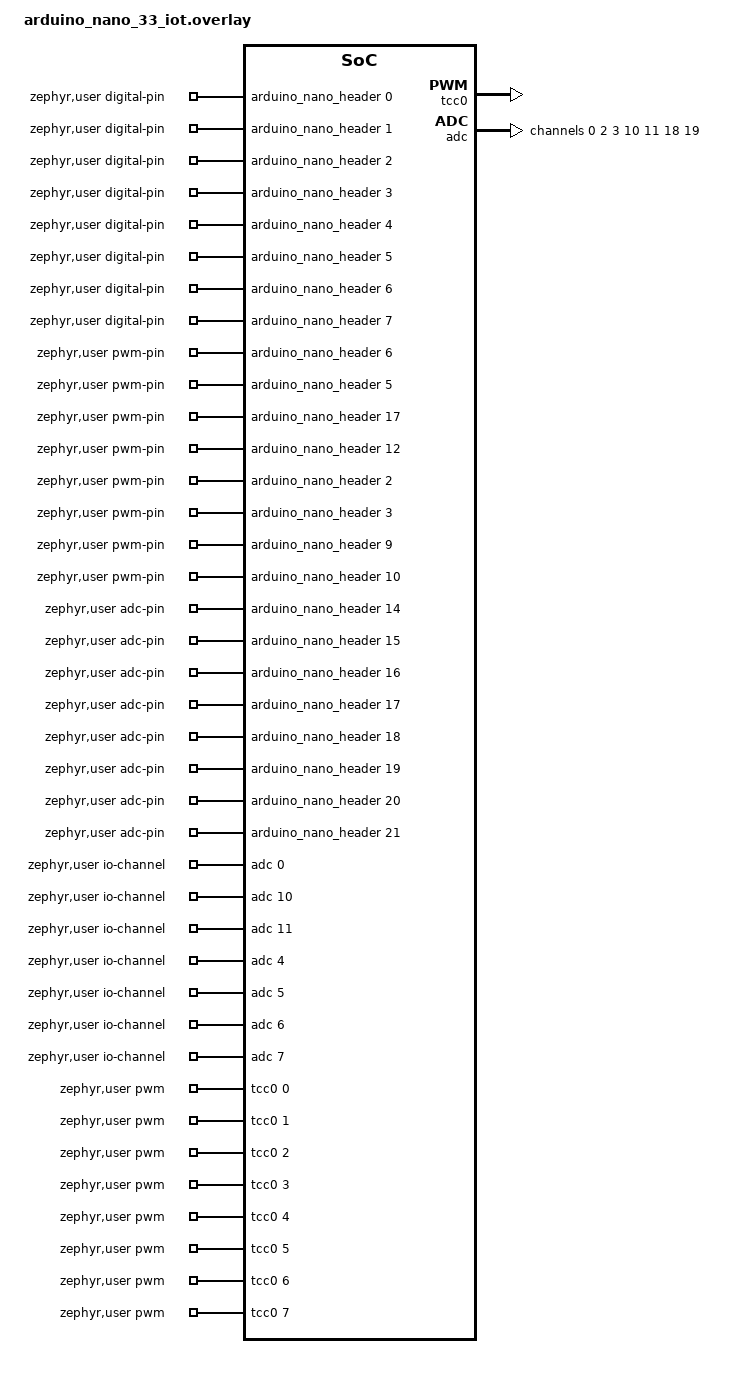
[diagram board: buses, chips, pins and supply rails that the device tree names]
#include <zephyr/dt-bindings/adc/adc.h>

/ {
	zephyr,user {
		digital-pin-gpios = <&arduino_nano_header 0 0>,
				    <&arduino_nano_header 1 0>,
				    <&arduino_nano_header 2 0>,
				    <&arduino_nano_header 3 0>,
				    <&arduino_nano_header 4 0>,
				    <&arduino_nano_header 5 0>,
				    <&arduino_nano_header 6 0>,
				    <&arduino_nano_header 7 0>,
				    <&arduino_nano_header 8 0>,
				    <&arduino_nano_header 9 0>,
				    <&arduino_nano_header 10 0>,
				    <&arduino_nano_header 11 0>,
				    <&arduino_nano_header 12 0>,
				    <&arduino_nano_header 13 0>,
				    <&arduino_nano_header 14 0>, /* D14 / A0 */
				    <&arduino_nano_header 15 0>,
				    <&arduino_nano_header 16 0>,
				    <&arduino_nano_header 17 0>,
				    <&arduino_nano_header 18 0>, /* D18 / A4 / I2C-SDA */
				    <&arduino_nano_header 19 0>, /* D19 / A5 / I2C-SCL */
				    <&arduino_nano_header 20 0>,
				    <&arduino_nano_header 21 0>;

		pwm-pin-gpios =	    <&arduino_nano_header 6 0>,
				    <&arduino_nano_header 5 0>,
				    <&arduino_nano_header 17 0>,
				    <&arduino_nano_header 12 0>,
				    <&arduino_nano_header 2 0>,
				    <&arduino_nano_header 3 0>,
				    <&arduino_nano_header 9 0>,
				    <&arduino_nano_header 10 0>;

		adc-pin-gpios =     <&arduino_nano_header 14 0>,
				    <&arduino_nano_header 15 0>,
				    <&arduino_nano_header 16 0>,
				    <&arduino_nano_header 17 0>,
				    <&arduino_nano_header 18 0>,
				    <&arduino_nano_header 19 0>,
				    <&arduino_nano_header 20 0>,
				    <&arduino_nano_header 21 0>;

		pwms =	<&tcc0 0 255>,
			<&tcc0 1 255>,
			<&tcc0 2 255>,
			<&tcc0 3 255>,
			<&tcc0 4 255>,
			<&tcc0 5 255>,
			<&tcc0 6 255>,
			<&tcc0 7 255>;

		io-channels =	<&adc 0>,
				<&adc 10>,
				<&adc 11>,
				<&adc 4>,
				<&adc 5>,
				<&adc 6>,
				<&adc 7>;

		serials = <&sercom5>;
		i2cs = <&arduino_nano_i2c>;
	};
};

&pinctrl {
	pwm_default: pwm_default {
		group1 {
			pinmux = <PA4E_TCC0_WO0>,
				 <PA5E_TCC0_WO1>,
				 <PA10F_TCC0_WO2>,
				 <PA19F_TCC0_WO3>,
				 <PB10F_TCC0_WO4>,
				 <PB11F_TCC0_WO5>,
				 <PA20F_TCC0_WO6>,
				 <PA21F_TCC0_WO7>;
		};
	};

	adc_default: adc_default {
		group1 {
			pinmux = <PA2B_ADC_AIN0>,
				 <PB2B_ADC_AIN10>,
				 <PA11B_ADC_AIN19>,
				 <PA10B_ADC_AIN18>,
				 <PB8B_ADC_AIN2>,
				 <PB9B_ADC_AIN3>,
				 <PA9B_ADC_AIN17>,
				 <PB3B_ADC_AIN11>;
		};
	};
};

&tcc0 {
	status = "okay";
	compatible = "atmel,sam0-tcc-pwm";
	prescaler = <2>;
	#pwm-cells = <2>;

	pinctrl-0 = <&pwm_default>;
	pinctrl-names = "default";
};

&adc {
	status = "okay";
	pinctrl-0 = <&adc_default>;
	pinctrl-names = "default";

	#address-cells = <1>;
	#size-cells = <0>;

	channel@0 {
		reg = <0x0>;
		zephyr,gain = "ADC_GAIN_1";
		zephyr,reference = "ADC_REF_INTERNAL";
		zephyr,acquisition-time = <ADC_ACQ_TIME_DEFAULT>;
		zephyr,resolution = <10>;
		zephyr,input-positive = <0>;
	};

	channel@2 {
		reg = <0x2>;
		zephyr,gain = "ADC_GAIN_1";
		zephyr,reference = "ADC_REF_INTERNAL";
		zephyr,acquisition-time = <ADC_ACQ_TIME_DEFAULT>;
		zephyr,resolution = <10>;
		zephyr,input-positive = <2>;
	};

	channel@3 {
		reg = <0x3>;
		zephyr,gain = "ADC_GAIN_1";
		zephyr,reference = "ADC_REF_INTERNAL";
		zephyr,acquisition-time = <ADC_ACQ_TIME_DEFAULT>;
		zephyr,resolution = <10>;
		zephyr,input-positive = <3>;
	};

	channel@a {
		reg = <0xa>;
		zephyr,gain = "ADC_GAIN_1";
		zephyr,reference = "ADC_REF_INTERNAL";
		zephyr,acquisition-time = <ADC_ACQ_TIME_DEFAULT>;
		zephyr,resolution = <10>;
		zephyr,input-positive = <10>;
	};

	channel@b {
		reg = <0xb>;
		zephyr,gain = "ADC_GAIN_1";
		zephyr,reference = "ADC_REF_INTERNAL";
		zephyr,acquisition-time = <ADC_ACQ_TIME_DEFAULT>;
		zephyr,resolution = <10>;
		zephyr,input-positive = <11>;
	};

	channel@12 {
		reg = <0x12>;
		zephyr,gain = "ADC_GAIN_1";
		zephyr,reference = "ADC_REF_INTERNAL";
		zephyr,acquisition-time = <ADC_ACQ_TIME_DEFAULT>;
		zephyr,resolution = <10>;
		zephyr,input-positive = <18>;
	};

	channel@13 {
		reg = <0x13>;
		zephyr,gain = "ADC_GAIN_1";
		zephyr,reference = "ADC_REF_INTERNAL";
		zephyr,acquisition-time = <ADC_ACQ_TIME_DEFAULT>;
		zephyr,resolution = <10>;
		zephyr,input-positive = <19>;
	};
};
